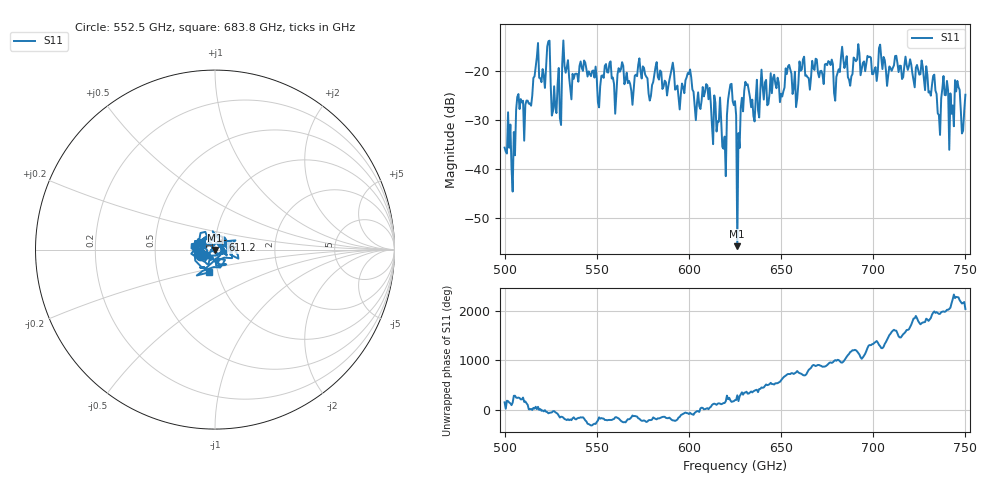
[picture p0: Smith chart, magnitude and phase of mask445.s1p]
!Created with skrf (http://scikit-rf.org).
# GHz S MA R 50.0
!freq magS11 angS11
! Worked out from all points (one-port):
!   401 points, 500 GHz to 750 GHz, reference 50 ohm
!   lowest |S11| = -55.8 dB at 626.2 GHz (marker M1), VSWR 1.00, Z = 50.1 - j0.142 ohm
!   |S11| at or under -10 dB: start of sweep to end of sweep
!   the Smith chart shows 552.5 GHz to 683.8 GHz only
!   S11 on the Smith chart (normalised r, x): 552.5 GHz: 0.85, -0.06; 611.2 GHz: 1.08, +0.12; 683.8 GHz: 0.90, -0.23
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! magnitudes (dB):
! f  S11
! 500 GHz  -35.6
! 505 GHz  -32.5
! 507.5 GHz  -24.7
! 511.9 GHz  -26.0
! 516.9 GHz  -19.1
! 523.8 GHz  -13.9
! 526.9 GHz  -23.1
! 531.2 GHz  -18.6
! 552.5 GHz  -21.0
! 562.5 GHz  -20.2
! 593.8 GHz  -23.0
! 600 GHz  -20.6
! 611.2 GHz  -23.5
! 618.8 GHz  -35.9
! 623.1 GHz  -22.6
! 625 GHz  -26.2
! 626.2 GHz  -55.8
! 631.2 GHz  -22.9
! 635 GHz  -29.2
! 656.2 GHz  -24.7
! 683.8 GHz  -17.6
! 687.5 GHz  -23.0
! 718.8 GHz  -19.8
! 735.6 GHz  -29.0
! 738.8 GHz  -24.9
! 742.5 GHz  -28.7
! 745.6 GHz  -22.0
! 750 GHz  -24.9
